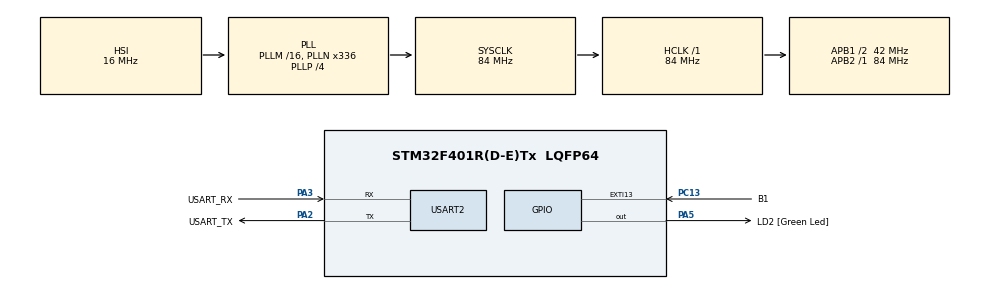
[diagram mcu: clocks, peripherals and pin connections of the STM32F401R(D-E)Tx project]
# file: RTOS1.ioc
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FREERTOS.BinarySemaphores01=BinSem,Dynamic,NULL,Available
FREERTOS.CountingSemaphores01=CountingSem1,3,Dynamic,NULL,0
FREERTOS.INCLUDE_vTaskDelayUntil=1
FREERTOS.Tasks01=NormalTask,0,128,StartNormalTask,Default,NULL,Dynamic,NULL,NULL;HighTask,1,128,StartHighTask,Default,NULL,Dynamic,NULL,NULL;LowTask,-1,128,StartLowTask,Default,NULL,Dynamic,NULL,NULL;VeryLowTask,-3,128,StartVeryLowTask,Default,NULL,Dynamic,NULL,NULL
FREERTOS.configUSE_COUNTING_SEMAPHORES=1
Mcu.Family=STM32F4
Mcu.Name=STM32F401R(D-E)Tx
Mcu.Package=LQFP64
NVIC.PriorityGroup=NVIC_PRIORITYGROUP_4
NVIC.TIM1_UP_TIM10_IRQn=true\:15\:0\:false\:false\:true\:false\:false\:true\:true
NVIC.TimeBase=TIM1_UP_TIM10_IRQn
NVIC.TimeBaseIP=TIM1
PA13.GPIO_Label=TMS
PA13.Mode=Serial_Wire
PA13.Signal=SYS_JTMS-SWDIO
PA14.GPIO_Label=TCK
PA14.Mode=Serial_Wire
PA14.Signal=SYS_JTCK-SWCLK
PA2.GPIO_Label=USART_TX
PA2.GPIO_Mode=GPIO_MODE_AF_PP
PA2.GPIO_PuPd=GPIO_NOPULL
PA2.GPIO_Speed=GPIO_SPEED_FREQ_LOW
PA2.Mode=Asynchronous
PA2.Signal=USART2_TX
PA3.GPIO_Label=USART_RX
PA3.GPIO_Mode=GPIO_MODE_AF_PP
PA3.GPIO_PuPd=GPIO_NOPULL
PA3.GPIO_Speed=GPIO_SPEED_FREQ_LOW
PA3.Mode=Asynchronous
PA3.Signal=USART2_RX
PA5.GPIO_Label=LD2 [Green Led]
PA5.GPIO_Mode=GPIO_MODE_OUTPUT_PP
PA5.GPIO_PuPd=GPIO_NOPULL
PA5.GPIO_Speed=GPIO_SPEED_FREQ_LOW
PA5.Signal=GPIO_Output
PB3.GPIO_Label=SWO
PB3.Signal=SYS_JTDO-SWO
PC13-ANTI_TAMP.GPIO_Label=B1
PC13-ANTI_TAMP.GPIO_ModeDefaultEXTI=GPIO_MODE_IT_FALLING
PC13-ANTI_TAMP.GPIO_PuPd=GPIO_NOPULL
PC13-ANTI_TAMP.Signal=GPXTI13
PC14-OSC32_IN.Mode=LSE-External-Oscillator
PC14-OSC32_IN.Signal=RCC_OSC32_IN
PC15-OSC32_OUT.Mode=LSE-External-Oscillator
PC15-OSC32_OUT.Signal=RCC_OSC32_OUT
PH0\ -\ OSC_IN.Mode=HSE-External-Clock-Source
PH0\ -\ OSC_IN.Signal=RCC_OSC_IN
PH1\ -\ OSC_OUT.Mode=HSE-External-Clock-Source
PH1\ -\ OSC_OUT.Signal=RCC_OSC_OUT
ProjectManager.HeapSize=0x200
ProjectManager.StackSize=0x400
ProjectManager.TargetToolchain=STM32CubeIDE
RCC.48MHZClocksFreq_Value=48000000
RCC.AHBFreq_Value=84000000
RCC.APB1CLKDivider=RCC_HCLK_DIV2
RCC.APB1Freq_Value=42000000
RCC.APB1TimFreq_Value=84000000
RCC.APB2Freq_Value=84000000
RCC.APB2TimFreq_Value=84000000
RCC.CortexFreq_Value=84000000
RCC.HCLKFreq_Value=84000000
RCC.HSE_VALUE=8000000
RCC.HSI_VALUE=16000000
RCC.PLLN=336
RCC.PLLP=RCC_PLLP_DIV4
RCC.PLLQ=7
RCC.SYSCLKFreq_VALUE=84000000
RCC.SYSCLKSource=RCC_SYSCLKSOURCE_PLLCLK
RCC.VCOOutputFreq_Value=336000000
USART2.VirtualMode=VM_ASYNC
VP_FREERTOS_VS_CMSIS_V1.Mode=CMSIS_V1
VP_SYS_VS_tim1.Mode=TIM1
board=NUCLEO-F401RE

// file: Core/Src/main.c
/* USER CODE BEGIN Header */
/**
  ******************************************************************************
  * @file           : main.c
  * @brief          : Main program body
  ******************************************************************************
  * @attention
  *
  * Copyright (c) 2026 STMicroelectronics.
  * All rights reserved.
  *
  * This software is licensed under terms that can be found in the LICENSE file
  * in the root directory of this software component.
  * If no LICENSE file comes with this software, it is provided AS-IS.
  *
  ******************************************************************************
  */
/* USER CODE END Header */
#include "main.h"
#include "cmsis_os.h"

/* USER CODE BEGIN Includes */
#include <stdio.h>
#include <string.h>
#include <stdlib.h>
/* USER CODE END Includes */

UART_HandleTypeDef huart2;

osThreadId NormalTaskHandle;
osThreadId HighTaskHandle;
osThreadId LowTaskHandle;
osThreadId VeryLowTaskHandle;
osSemaphoreId BinSemHandle;
osSemaphoreId CountingSem1Handle;
/* USER CODE BEGIN PV */
osThreadId Task3Handle;
/* USER CODE END PV */

void SystemClock_Config(void);
static void MX_GPIO_Init(void);
static void MX_USART2_UART_Init(void);
void StartNormalTask(void const * argument);
void StartHighTask(void const * argument);
void StartLowTask(void const * argument);
void StartVeryLowTask(void const * argument);

/* USER CODE BEGIN 0 */
 int __io_putchar(int ch)
{
	 if (ch == '\n') {
	         uint8_t ch2 = '\r';
	         HAL_UART_Transmit(&huart2, &ch2, 1, HAL_MAX_DELAY);
	     }
    HAL_UART_Transmit(&huart2, (uint8_t*)&ch, 1, HAL_MAX_DELAY);
    return 1;
}

__attribute__((weak)) int _write(int file, char *ptr, int len)
{
	int DataIdx;
	for (DataIdx = 0; DataIdx < len; DataIdx++)
	{
		__io_putchar(*ptr++);
	}
	return len;
}
uint16_t indx = 0;

int resource[3] = {111,222,333};

/* USER CODE END 0 */

int main(void)
{

  /* MCU Configuration--------------------------------------------------------*/

  /* Reset of all peripherals, Initializes the Flash interface and the Systick. */
  HAL_Init();

  /* Configure the system clock */
  SystemClock_Config();

  /* Initialize all configured peripherals */
  MX_GPIO_Init();
  MX_USART2_UART_Init();

  /* Create the semaphores(s) */
  /* definition and creation of BinSem */
  osSemaphoreDef(BinSem);
  BinSemHandle = osSemaphoreCreate(osSemaphore(BinSem), 1);

  /* definition and creation of CountingSem1 */
  osSemaphoreDef(CountingSem1);
  CountingSem1Handle = osSemaphoreCreate(osSemaphore(CountingSem1), 3);

  /* Create the thread(s) */
  /* definition and creation of NormalTask */
  osThreadDef(NormalTask, StartNormalTask, osPriorityNormal, 0, 128);
  NormalTaskHandle = osThreadCreate(osThread(NormalTask), NULL);

  /* definition and creation of HighTask */
  osThreadDef(HighTask, StartHighTask, osPriorityAboveNormal, 0, 128);
  HighTaskHandle = osThreadCreate(osThread(HighTask), NULL);

  /* definition and creation of LowTask */
  osThreadDef(LowTask, StartLowTask, osPriorityBelowNormal, 0, 128);
  LowTaskHandle = osThreadCreate(osThread(LowTask), NULL);

  /* definition and creation of VeryLowTask */
  osThreadDef(VeryLowTask, StartVeryLowTask, osPriorityIdle, 0, 128);
  VeryLowTaskHandle = osThreadCreate(osThread(VeryLowTask), NULL);

  /* Start scheduler */
  osKernelStart();

  /* We should never get here as control is now taken by the scheduler */

  /* Infinite loop */
  while (1)
  {

  }
}

void SystemClock_Config(void)
{
  RCC_OscInitTypeDef RCC_OscInitStruct = {0};
  RCC_ClkInitTypeDef RCC_ClkInitStruct = {0};

  /** Configure the main internal regulator output voltage
  */
  __HAL_RCC_PWR_CLK_ENABLE();
  __HAL_PWR_VOLTAGESCALING_CONFIG(PWR_REGULATOR_VOLTAGE_SCALE2);

  /** Initializes the RCC Oscillators according to the specified parameters
  * in the RCC_OscInitTypeDef structure.
  */
  RCC_OscInitStruct.OscillatorType = RCC_OSCILLATORTYPE_HSI;
  RCC_OscInitStruct.HSIState = RCC_HSI_ON;
  RCC_OscInitStruct.HSICalibrationValue = RCC_HSICALIBRATION_DEFAULT;
  RCC_OscInitStruct.PLL.PLLState = RCC_PLL_ON;
  RCC_OscInitStruct.PLL.PLLSource = RCC_PLLSOURCE_HSI;
  RCC_OscInitStruct.PLL.PLLM = 16;
  RCC_OscInitStruct.PLL.PLLN = 336;
  RCC_OscInitStruct.PLL.PLLP = RCC_PLLP_DIV4;
  RCC_OscInitStruct.PLL.PLLQ = 7;
  if (HAL_RCC_OscConfig(&RCC_OscInitStruct) != HAL_OK)
  {
    Error_Handler();
  }

  /** Initializes the CPU, AHB and APB buses clocks
  */
  RCC_ClkInitStruct.ClockType = RCC_CLOCKTYPE_HCLK|RCC_CLOCKTYPE_SYSCLK
                              |RCC_CLOCKTYPE_PCLK1|RCC_CLOCKTYPE_PCLK2;
  RCC_ClkInitStruct.SYSCLKSource = RCC_SYSCLKSOURCE_PLLCLK;
  RCC_ClkInitStruct.AHBCLKDivider = RCC_SYSCLK_DIV1;
  RCC_ClkInitStruct.APB1CLKDivider = RCC_HCLK_DIV2;
  RCC_ClkInitStruct.APB2CLKDivider = RCC_HCLK_DIV1;

  if (HAL_RCC_ClockConfig(&RCC_ClkInitStruct, FLASH_LATENCY_2) != HAL_OK)
  {
    Error_Handler();
  }
}

static void MX_USART2_UART_Init(void)
{

  huart2.Instance = USART2;
  huart2.Init.BaudRate = 115200;
  huart2.Init.WordLength = UART_WORDLENGTH_8B;
  huart2.Init.StopBits = UART_STOPBITS_1;
  huart2.Init.Parity = UART_PARITY_NONE;
  huart2.Init.Mode = UART_MODE_TX_RX;
  huart2.Init.HwFlowCtl = UART_HWCONTROL_NONE;
  huart2.Init.OverSampling = UART_OVERSAMPLING_16;
  if (HAL_UART_Init(&huart2) != HAL_OK)
  {
    Error_Handler();
  }

}

static void MX_GPIO_Init(void)
{
  GPIO_InitTypeDef GPIO_InitStruct = {0};

  /* GPIO Ports Clock Enable */
  __HAL_RCC_GPIOC_CLK_ENABLE();
  __HAL_RCC_GPIOH_CLK_ENABLE();
  __HAL_RCC_GPIOA_CLK_ENABLE();
  __HAL_RCC_GPIOB_CLK_ENABLE();

  /*Configure GPIO pin Output Level */
  HAL_GPIO_WritePin(LD2_GPIO_Port, LD2_Pin, GPIO_PIN_RESET);

  /*Configure GPIO pin : B1_Pin */
  GPIO_InitStruct.Pin = B1_Pin;
  GPIO_InitStruct.Mode = GPIO_MODE_IT_FALLING;
  GPIO_InitStruct.Pull = GPIO_NOPULL;
  HAL_GPIO_Init(B1_GPIO_Port, &GPIO_InitStruct);

  /*Configure GPIO pin : LD2_Pin */
  GPIO_InitStruct.Pin = LD2_Pin;
  GPIO_InitStruct.Mode = GPIO_MODE_OUTPUT_PP;
  GPIO_InitStruct.Pull = GPIO_NOPULL;
  GPIO_InitStruct.Speed = GPIO_SPEED_FREQ_LOW;
  HAL_GPIO_Init(LD2_GPIO_Port, &GPIO_InitStruct);

}

void StartNormalTask(void const * argument)
{
  /* USER CODE BEGIN 5 */
  /* Infinite loop */
	char sresource[3];
	  for(;;)
	  {
		  printf("Entered NTask, about to acquire semaphore\n");
		  osSemaphoreWait(CountingSem1Handle, osWaitForever);

		  itoa (resource[indx], sresource,10);
		  printf("Semaphore acquired by N Task\n");
		  printf("Leaving NPT task\n Data Accessed is:: %s \n Not releasing the semaphore\n\n", sresource);

		  indx++;
		  if(indx>2) indx = 0;
		  osSemaphoreRelease(BinSemHandle);// To jest tak jakby semaphoretake
	    osDelay(3000);
	  }
  /* USER CODE END 5 */
}

void StartHighTask(void const * argument)
{
  /* USER CODE BEGIN StartHighTask */
  /* Infinite loop */
	osSemaphoreRelease(CountingSem1Handle);
	osSemaphoreRelease(CountingSem1Handle);
	osSemaphoreRelease(CountingSem1Handle);

	char sresource[3];
  for(;;)
  {
	  printf("Entered HighTask, about to acquire semaphore\n");
	  osSemaphoreWait(CountingSem1Handle, osWaitForever);

	  itoa (resource[indx], sresource,10);
	  printf("Semaphore acquired by High Task\n");
	  printf("Leaving HPT task\n Data Accessed is:: %s \n Not releasing the semaphore\n\n", sresource);

	  indx++;
	  if(indx>2) indx = 0;
	  osSemaphoreRelease(BinSemHandle);// To jest tak jakby semaphoretake
    osDelay(3000);
  }
  /* USER CODE END StartHighTask */
}

void StartLowTask(void const * argument)
{
  /* USER CODE BEGIN StartLowTask */
  /* Infinite loop */
	char sresource[3];
	  for(;;)
	  {
		  printf("EnteredLTask, about to acquire semaphore\n");
		  osSemaphoreWait(CountingSem1Handle, osWaitForever);

		  itoa (resource[indx], sresource,10);
		  printf("Semaphore acquired by L Task\n");
		  printf("Leaving LPT task\n Data Accessed is:: %s \n Not releasing the semaphore\n\n", sresource);

		  indx++;
		  if(indx>2) indx = 0;
		  osSemaphoreRelease(BinSemHandle);// To jest tak jakby semaphoretake
	    osDelay(3000);
	  }
  /* USER CODE END StartLowTask */
}

void StartVeryLowTask(void const * argument)
{
  /* USER CODE BEGIN StartVeryLowTask */
  /* Infinite loop */
	char sresource[3];
	  for(;;)
	  {
		  printf("Entered VTask, about to acquire semaphore\n");
		  osSemaphoreWait(CountingSem1Handle, osWaitForever);

		  itoa (resource[indx], sresource,10);
		  printf("Semaphore acquired byV Task\n");
		  printf("Leaving VPT task\n Data Accessed is:: %s \n Not releasing the semaphore\n\n", sresource);

		  indx++;
		  if(indx>2) indx = 0;
		  osSemaphoreRelease(BinSemHandle);// To jest tak jakby semaphoretake
	    osDelay(3000);
	  }
  /* USER CODE END StartVeryLowTask */
}

void HAL_TIM_PeriodElapsedCallback(TIM_HandleTypeDef *htim)
{
  if (htim->Instance == TIM1)
  {
    HAL_IncTick();
  }
}

void Error_Handler(void)
{
  __disable_irq();
  while (1)
  {
  }
}
